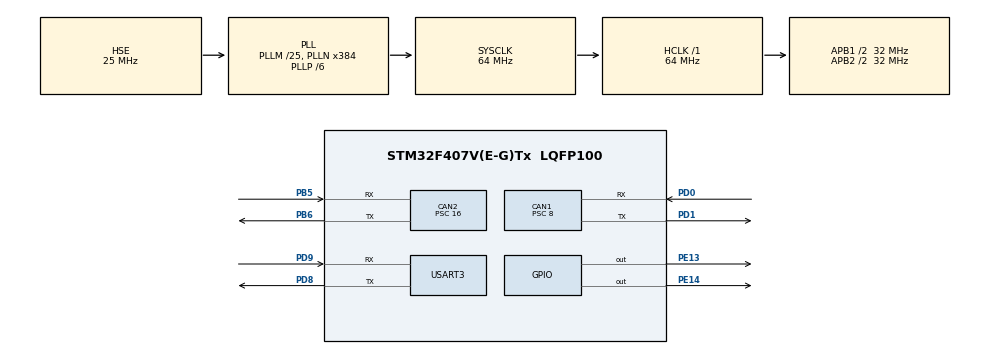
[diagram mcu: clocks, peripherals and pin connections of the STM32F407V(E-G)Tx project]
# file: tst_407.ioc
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CAN1.BS1=CAN_BS1_6TQ
CAN1.CalculateBaudRate=500000
CAN1.CalculateTimeBit=2000
CAN1.CalculateTimeQuantum=250.0
CAN1.Prescaler=8
CAN2.BS1=CAN_BS1_13TQ
CAN2.BS2=CAN_BS2_2TQ
CAN2.CalculateBaudRate=125000
CAN2.CalculateTimeBit=8000
CAN2.CalculateTimeQuantum=500.0
CAN2.Prescaler=16
Mcu.Family=STM32F4
Mcu.Name=STM32F407V(E-G)Tx
Mcu.Package=LQFP100
NVIC.CAN1_RX0_IRQn=true\:0\:0\:false\:false\:true\:true\:true\:true
NVIC.CAN1_SCE_IRQn=true\:0\:0\:false\:false\:true\:true\:true\:true
NVIC.CAN2_RX1_IRQn=true\:0\:0\:false\:false\:true\:true\:true\:true
NVIC.CAN2_SCE_IRQn=true\:0\:0\:false\:false\:true\:true\:true\:true
NVIC.PriorityGroup=NVIC_PRIORITYGROUP_4
NVIC.RCC_IRQn=true\:0\:0\:false\:false\:true\:true\:false\:true
NVIC.USART3_IRQn=true\:0\:0\:false\:false\:true\:true\:true\:true
PB5.Mode=CAN_Activate
PB5.Signal=CAN2_RX
PB6.Mode=CAN_Activate
PB6.Signal=CAN2_TX
PC14-OSC32_IN.Mode=LSE-External-Oscillator
PC14-OSC32_IN.Signal=RCC_OSC32_IN
PC15-OSC32_OUT.Mode=LSE-External-Oscillator
PC15-OSC32_OUT.Signal=RCC_OSC32_OUT
PD0.Mode=CAN_Activate
PD0.Signal=CAN1_RX
PD1.Mode=CAN_Activate
PD1.Signal=CAN1_TX
PD8.Mode=Asynchronous
PD8.Signal=USART3_TX
PD9.Mode=Asynchronous
PD9.Signal=USART3_RX
PE13.Signal=GPIO_Output
PE14.Signal=GPIO_Output
PH0-OSC_IN.Mode=HSE-External-Oscillator
PH0-OSC_IN.Signal=RCC_OSC_IN
PH1-OSC_OUT.Mode=HSE-External-Oscillator
PH1-OSC_OUT.Signal=RCC_OSC_OUT
ProjectManager.HeapSize=0x200
ProjectManager.StackSize=0x400
ProjectManager.TargetToolchain=STM32CubeIDE
RCC.48MHZClocksFreq_Value=48000000
RCC.AHBFreq_Value=64000000
RCC.APB1CLKDivider=RCC_HCLK_DIV2
RCC.APB1Freq_Value=32000000
RCC.APB1TimFreq_Value=64000000
RCC.APB2CLKDivider=RCC_HCLK_DIV2
RCC.APB2Freq_Value=32000000
RCC.APB2TimFreq_Value=64000000
RCC.CortexFreq_Value=64000000
RCC.HCLKFreq_Value=64000000
RCC.HSE_VALUE=25000000
RCC.HSI_VALUE=16000000
RCC.PLLM=25
RCC.PLLN=384
RCC.PLLP=RCC_PLLP_DIV6
RCC.PLLQ=8
RCC.PLLSourceVirtual=RCC_PLLSOURCE_HSE
RCC.SYSCLKFreq_VALUE=64000000
RCC.SYSCLKSource=RCC_SYSCLKSOURCE_PLLCLK
RCC.VCOOutputFreq_Value=384000000
USART3.VirtualMode=VM_ASYNC
board=custom

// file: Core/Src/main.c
/* USER CODE BEGIN Header */
/**
  ******************************************************************************
  * @file           : main.c
  * @brief          : Main program body
  ******************************************************************************
  * @attention
  *
  * Copyright (c) 2024 STMicroelectronics.
  * All rights reserved.
  *
  * This software is licensed under terms that can be found in the LICENSE file
  * in the root directory of this software component.
  * If no LICENSE file comes with this software, it is provided AS-IS.
  *
  ******************************************************************************
  */
/* USER CODE END Header */
#include "main.h"
#include "can.h"
#include "usart.h"
#include "gpio.h"

void SystemClock_Config(void);

/* USER CODE BEGIN 0 */
void CAN1_CAN2_broadcast(uint32_t can_id, uint8_t* x, uint8_t length) {

    CAN_TxHeaderTypeDef TxHeader;
    uint32_t TxMailbox;
    uint8_t TxData[8];

    // Преобразование входящего сообщения от системы управления
    // id = 0x150 широковещательный запуск/остановка
    if (can_id == 0x150) {
        TxHeader.DLC = 8;
        TxHeader.IDE = CAN_ID_EXT;
        TxHeader.ExtId = 0x00;
        TxHeader.RTR = CAN_RTR_DATA;

        if (x[0] == 0x01) {
            TxData[0] = 0b00010000;
            TxData[1] = 0x04;
            TxData[2] = 0x00;
            TxData[3] = 0x00;
            TxData[4] = 0x00;
            TxData[5] = 0x00;
            TxData[6] = 0x00;
            TxData[7] = 0x00;
        } else if (x[0] == 0x00) {
            TxData[0] = 0b00010000;
            TxData[1] = 0x04;
            TxData[2] = 0x00;
            TxData[3] = 0x00;
            TxData[4] = 0x00;
            TxData[5] = 0x00;
            TxData[6] = 0x00;
            TxData[7] = 0x01;
        }

        if (HAL_CAN_AddTxMessage(&hcan2, &TxHeader, TxData, &TxMailbox) != HAL_OK) {
            Error_Handler();
        }

    }

}
void CAN1_CAN2_individ(uint32_t can_id, uint8_t* x, uint8_t length) {

    CAN_TxHeaderTypeDef TxHeader;
    uint32_t TxMailbox;
    uint8_t TxData[8];

    // Преобразование входящего сообщения от системы управления
     // id = 0x160 + адрес: индивидуальный запуск/остановка
     //if (can_id >= 0x160 && can_id <= 0x18F) {
    if ((can_id >= 0x160) & (can_id <= 0x18F)) {//не работает с &&
         TxHeader.DLC = 8;
         TxHeader.IDE = CAN_ID_EXT;
         TxHeader.ExtId = can_id - 0x160 + 1;
         TxHeader.RTR = CAN_RTR_DATA;

         if (x[0] == 0x01) {
             TxData[0] = 0b00010000;
             TxData[1] = 0x04;
             TxData[2] = 0x00;
             TxData[3] = 0x00;
             TxData[4] = 0x00;
             TxData[5] = 0x00;
             TxData[6] = 0x00;
             TxData[7] = 0x00;
         } else if (x[0] == 0x00) {
             TxData[0] = 0b00010000;
             TxData[1] = 0x04;
             TxData[2] = 0x00;
             TxData[3] = 0x00;
             TxData[4] = 0x00;
             TxData[5] = 0x00;
             TxData[6] = 0x00;
             TxData[7] = 0x01;
         }

         if (HAL_CAN_AddTxMessage(&hcan2, &TxHeader, TxData, &TxMailbox) != HAL_OK) {
             Error_Handler();
         }
    }
}

void CAN1_CAN2_current(uint32_t can_id, uint8_t* x, uint8_t length) {

    CAN_TxHeaderTypeDef TxHeader;
    uint32_t TxMailbox;
    uint8_t TxData[8];

    // Преобразование входящего сообщения от системы управления
     // id = 0x160 + адрес: индивидуальный запуск/остановка
     //if (can_id >= 0x160 && can_id <= 0x18F) {
    if ((can_id >= 0x160) & (can_id <= 0x18F)) {//не работает с &&
         TxHeader.DLC = 8;
         TxHeader.IDE = CAN_ID_EXT;
         TxHeader.ExtId = can_id - 0x160 + 1;
         TxHeader.RTR = CAN_RTR_DATA;

         // Преобразование входящего сообщения от системы управления
         // Выставка значения тока, мА
         uint64_t I = (uint64_t)((x[2] << 8) | x[1]);// только грубо
         uint64_t I_ma = I * 1000 * 0.0146628;//15A - 1023 - FF 03
         unsigned char byte1 = (I_ma >> 24) & 0xFF;
         unsigned char byte2 = (I_ma >> 16) & 0xFF;
         unsigned char byte3 = (I_ma >> 8) & 0xFF;
         unsigned char byte4 =  I_ma & 0xFF;

         TxData[0] = 0x10;
         TxData[1] = 0x03;
         TxData[2] = 0x00;
         TxData[3] = 0x00;

         TxData[4] = byte1;
         TxData[5] = byte2;
         TxData[6] = byte3;
         TxData[7] = byte4;

         if (HAL_CAN_AddTxMessage(&hcan2, &TxHeader, TxData, &TxMailbox) != HAL_OK) {
             Error_Handler();
         }
    }
}

void HAL_CAN_RxFifo0MsgPendingCallback(CAN_HandleTypeDef *hcan)
{
    CAN_RxHeaderTypeDef RxHeader;
    uint8_t RxData[8] = {0x01, 0x02, 0x03, 0x04, 0x05, 0x06, 0x07, 0x08};  // Example data
    if(HAL_CAN_GetRxMessage(hcan, CAN_RX_FIFO0, &RxHeader, RxData) == HAL_OK)
    {
         HAL_GPIO_TogglePin(GPIOE, GPIO_PIN_13);
         CAN1_CAN2_broadcast(RxHeader.StdId, RxData, RxHeader.DLC);// StdId = 0x150
         CAN1_CAN2_individ(RxHeader.StdId, RxData, RxHeader.DLC);// (can_id >= 0x160 && can_id <= 0x18F)
         CAN1_CAN2_current(RxHeader.StdId, RxData, RxHeader.DLC);// (can_id >= 0x160 && can_id <= 0x18F)
    }
}
void HAL_CAN_RxFifo1MsgPendingCallback(CAN_HandleTypeDef *hcan)
{
    CAN_RxHeaderTypeDef RxHeader;
    uint8_t RxData[8] = {0x01, 0x02, 0x03, 0x04, 0x05, 0x06, 0x07, 0x08};  // Example data
    if(HAL_CAN_GetRxMessage(&hcan2, CAN_RX_FIFO1, &RxHeader, RxData) == HAL_OK)
    {
        HAL_GPIO_TogglePin(GPIOE, GPIO_PIN_14);
    }
}
//https://www.waveshare.com/wiki/STM32CubeMX_Tutorial_Series:_USART
#ifdef __GNUC__
  /* With GCC/RAISONANCE, small printf (option LD Linker->Libraries->Small printf
     set to 'Yes') calls __io_putchar() */
  #define PUTCHAR_PROTOTYPE int __io_putchar(int ch)
#else
  #define PUTCHAR_PROTOTYPE int fputc(int ch, FILE *f)
#endif /* __GNUC__ */

/**
  * @brief  Retargets the C library printf function to the USART.
  * @param  None
  * @retval None
  */
PUTCHAR_PROTOTYPE
{
  /* Place your implementation of fputc here */
  /* e.g. write a character to the EVAL_COM1 and Loop until the end of transmission */
  HAL_UART_Transmit(&huart3, (uint8_t *)&ch, 1, 0xFFFF);

  return ch;
}

void HAL_GPIO_EXTI_Callback(uint16_t GPIO_Pin)
{
  if (GPIO_Pin == GPIO_PIN_10)
  {
	  printf("\n\r Кнопка S1 нажата\n\r");
    //Код обработки прерывания для PE10
	  HAL_GPIO_TogglePin(GPIOE, GPIO_PIN_15);

  }
}
/* USER CODE END 0 */

int main(void)
{

  /* MCU Configuration--------------------------------------------------------*/

  /* Reset of all peripherals, Initializes the Flash interface and the Systick. */
  HAL_Init();

  /* Configure the system clock */
  SystemClock_Config();

  /* Initialize all configured peripherals */
  MX_GPIO_Init();
  MX_CAN1_Init();
  MX_CAN2_Init();
  MX_USART3_UART_Init();
  /* USER CODE BEGIN 2 */
  //const char *message = "Hello, UART!\n";

  // Отправка сообщения через UART3
  //HAL_UART_Transmit(&huart3, (uint8_t *)message, strlen(message), HAL_MAX_DELAY);

  printf("\n\r !UART Printf Example: retarget the C library printf function to the UART\n\r");
  printf("\n\r Работает\n\r");
  /* USER CODE END 2 */

  /* Infinite loop */
  while (1)
  {

  }
}

void SystemClock_Config(void)
{
  RCC_OscInitTypeDef RCC_OscInitStruct = {0};
  RCC_ClkInitTypeDef RCC_ClkInitStruct = {0};

  /** Configure the main internal regulator output voltage
  */
  __HAL_RCC_PWR_CLK_ENABLE();
  __HAL_PWR_VOLTAGESCALING_CONFIG(PWR_REGULATOR_VOLTAGE_SCALE1);

  /** Initializes the RCC Oscillators according to the specified parameters
  * in the RCC_OscInitTypeDef structure.
  */
  RCC_OscInitStruct.OscillatorType = RCC_OSCILLATORTYPE_HSE;
  RCC_OscInitStruct.HSEState = RCC_HSE_ON;
  RCC_OscInitStruct.PLL.PLLState = RCC_PLL_ON;
  RCC_OscInitStruct.PLL.PLLSource = RCC_PLLSOURCE_HSE;
  RCC_OscInitStruct.PLL.PLLM = 25;
  RCC_OscInitStruct.PLL.PLLN = 384;
  RCC_OscInitStruct.PLL.PLLP = RCC_PLLP_DIV6;
  RCC_OscInitStruct.PLL.PLLQ = 8;
  if (HAL_RCC_OscConfig(&RCC_OscInitStruct) != HAL_OK)
  {
    Error_Handler();
  }

  /** Initializes the CPU, AHB and APB buses clocks
  */
  RCC_ClkInitStruct.ClockType = RCC_CLOCKTYPE_HCLK|RCC_CLOCKTYPE_SYSCLK
                              |RCC_CLOCKTYPE_PCLK1|RCC_CLOCKTYPE_PCLK2;
  RCC_ClkInitStruct.SYSCLKSource = RCC_SYSCLKSOURCE_PLLCLK;
  RCC_ClkInitStruct.AHBCLKDivider = RCC_SYSCLK_DIV1;
  RCC_ClkInitStruct.APB1CLKDivider = RCC_HCLK_DIV2;
  RCC_ClkInitStruct.APB2CLKDivider = RCC_HCLK_DIV2;

  if (HAL_RCC_ClockConfig(&RCC_ClkInitStruct, FLASH_LATENCY_2) != HAL_OK)
  {
    Error_Handler();
  }
}

void Error_Handler(void)
{
  __disable_irq();
  while (1)
  {
  }
}
